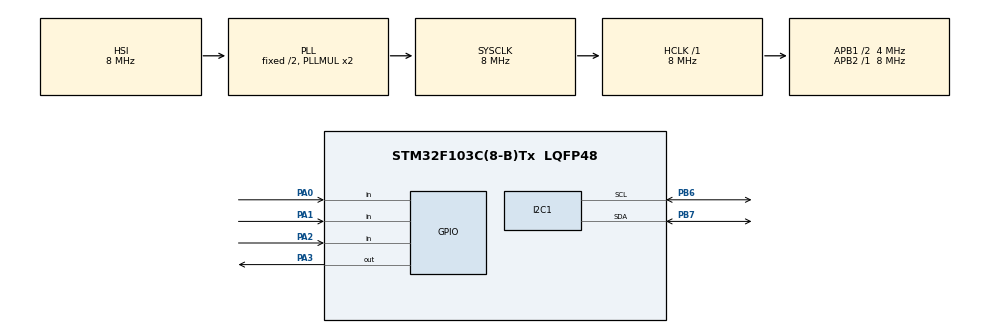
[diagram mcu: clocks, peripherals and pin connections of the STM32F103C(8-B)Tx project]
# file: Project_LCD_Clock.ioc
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Mcu.Family=STM32F1
Mcu.Name=STM32F103C(8-B)Tx
Mcu.Package=LQFP48
NVIC.PriorityGroup=NVIC_PRIORITYGROUP_4
PA0-WKUP.GPIO_PuPd=GPIO_PULLUP
PA0-WKUP.Signal=GPIO_Input
PA1.GPIO_PuPd=GPIO_PULLUP
PA1.Signal=GPIO_Input
PA13.Mode=Serial_Wire
PA13.Signal=SYS_JTMS-SWDIO
PA14.Mode=Serial_Wire
PA14.Signal=SYS_JTCK-SWCLK
PA2.GPIO_PuPd=GPIO_PULLUP
PA2.Signal=GPIO_Input
PA3.GPIO_ModeDefaultOutputPP=GPIO_MODE_OUTPUT_PP
PA3.GPIO_PuPd=GPIO_PULLUP
PA3.GPIO_Speed=GPIO_SPEED_FREQ_HIGH
PA3.PinState=GPIO_PIN_SET
PA3.Signal=GPIO_Output
PB6.Mode=I2C
PB6.Signal=I2C1_SCL
PB7.Mode=I2C
PB7.Signal=I2C1_SDA
PD0-OSC_IN.Mode=HSE-External-Oscillator
PD0-OSC_IN.Signal=RCC_OSC_IN
PD1-OSC_OUT.Mode=HSE-External-Oscillator
PD1-OSC_OUT.Signal=RCC_OSC_OUT
ProjectManager.HeapSize=0x200
ProjectManager.StackSize=0x400
ProjectManager.TargetToolchain=MDK-ARM V5.32
RCC.AHBFreq_Value=8000000
RCC.APB1CLKDivider=RCC_HCLK_DIV2
RCC.APB1Freq_Value=4000000
RCC.APB1TimFreq_Value=8000000
RCC.APB2Freq_Value=8000000
RCC.APB2TimFreq_Value=8000000
RCC.HCLKFreq_Value=8000000
RCC.SYSCLKFreq_VALUE=8000000
RCC.SYSCLKSource=RCC_SYSCLKSOURCE_PLLCLK
RCC.USBFreq_Value=8000000
board=custom

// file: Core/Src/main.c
/* USER CODE BEGIN Header */
/**
  ******************************************************************************
  * @file           : main.c
  * @brief          : Main program body
  ******************************************************************************
  * @attention
  *
  * Copyright (c) 2024 STMicroelectronics.
  * All rights reserved.
  *
  * This software is licensed under terms that can be found in the LICENSE file
  * in the root directory of this software component.
  * If no LICENSE file comes with this software, it is provided AS-IS.
  *
  ******************************************************************************
  */
/* USER CODE END Header */
#include "main.h"

/* USER CODE BEGIN Includes */
#include "i2c_lcd.h"
#include "DS3231.h"
#include "button.h"
#include <stdio.h>
#include <string.h>
/* USER CODE END Includes */

/* USER CODE BEGIN PTD */
typedef enum
{
	NORMAL_STATE,
	SETTING_HOUR_STATE,
	SETTING_MIN_STATE,
	SETTING_SEC_STATE,
	SETTING_DATE_STATE,
	SETTING_MON_STATE,
	SETTING_YEAR_STATE,
	ALARM_HOUR_STATE,
	ALARM_MIN_STATE,
	BACKLIGHT_OFF_STATE
}ClockState;

/* USER CODE END PTD */

/* USER CODE BEGIN PD */
// back light off time (hour: 0-23)
#define BACKLIGHT_OFF_START 20
#define BACKLIGHT_OFF_END 5

#define BLINK_SETTING_DURATION 300
#define BACKLIGHT_ON_DURATION 10000
#define TIME_ADJUST_HOLD_DURATION 1000
#define TIME_ADJUST_STEP_INTERVAL 300
/* USER CODE END PD */

I2C_HandleTypeDef hi2c1;

/* USER CODE BEGIN PV */
I2C_LCD lcd;
DateTime date_time;
Button_Typedef btn_ok, btn_up, btn_down;
//int8_t alarm_hour, alarm_min;
uint32_t time_on_click_up = 0, time_on_click_down = 0, time_on_click_ok = 0;
const char arr_day[][4]= {"SUN", "MON", "TUE", "WED", "THU", "FRI", "SAT"};
ClockState clock_state = NORMAL_STATE;

/* USER CODE END PV */

void SystemClock_Config(void);
static void MX_GPIO_Init(void);
static void MX_I2C1_Init(void);
/* USER CODE BEGIN PFP */
void clock_time_update(void);
void up_down_number(int8_t *number, int8_t max, int8_t min, uint8_t isPlus);
uint8_t check_leap_year(uint16_t year);
uint8_t get_max_date(uint8_t mon, uint16_t year);
void check_alarm(void);
void setting_blink(void);
void adjust_time(uint8_t isPlus);
void button_time_out_handler_cb(Button_Typedef *ButtonX);
void button_short_press_handler_cb(Button_Typedef *ButtonX);
void button_press_handler_cb(Button_Typedef *ButtonX);
void button_release_handler_cb(Button_Typedef *ButtonX);
void hold_btn_handle(void);
void backlight_handle(void);
void alarm_screen(void);
void clock_handle(void);
/* USER CODE END PFP */

int main(void)
{

  /* MCU Configuration--------------------------------------------------------*/

  /* Reset of all peripherals, Initializes the Flash interface and the Systick. */
  HAL_Init();

  /* Configure the system clock */
  SystemClock_Config();

  /* Initialize all configured peripherals */
  MX_GPIO_Init();
  MX_I2C1_Init();
  /* USER CODE BEGIN 2 */
	HAL_Delay(100);
	lcd_init(&lcd, &hi2c1, LCD_ADDR_DEFAULT);
	rtc_init(&hi2c1);
  button_init(&btn_down, GPIOA, GPIO_PIN_0);
  button_init(&btn_ok, GPIOA, GPIO_PIN_1);
  button_init(&btn_up, GPIOA, GPIO_PIN_2);
	rtc_read_alarm(&date_time);
	lcd_clear(&lcd);
  /* USER CODE END 2 */

  /* Infinite loop */
  while (1)
  {

    /* USER CODE BEGIN 3 */
		clock_handle();
		button_handler(&btn_down);
		button_handler(&btn_ok);
		button_handler(&btn_up);
  }
  /* USER CODE END 3 */
}

void SystemClock_Config(void)
{
  RCC_OscInitTypeDef RCC_OscInitStruct = {0};
  RCC_ClkInitTypeDef RCC_ClkInitStruct = {0};

  /** Initializes the RCC Oscillators according to the specified parameters
  * in the RCC_OscInitTypeDef structure.
  */
  RCC_OscInitStruct.OscillatorType = RCC_OSCILLATORTYPE_HSI;
  RCC_OscInitStruct.HSIState = RCC_HSI_ON;
  RCC_OscInitStruct.HSICalibrationValue = RCC_HSICALIBRATION_DEFAULT;
  RCC_OscInitStruct.PLL.PLLState = RCC_PLL_ON;
  RCC_OscInitStruct.PLL.PLLSource = RCC_PLLSOURCE_HSI_DIV2;
  RCC_OscInitStruct.PLL.PLLMUL = RCC_PLL_MUL2;
  if (HAL_RCC_OscConfig(&RCC_OscInitStruct) != HAL_OK)
  {
    Error_Handler();
  }

  /** Initializes the CPU, AHB and APB buses clocks
  */
  RCC_ClkInitStruct.ClockType = RCC_CLOCKTYPE_HCLK|RCC_CLOCKTYPE_SYSCLK
                              |RCC_CLOCKTYPE_PCLK1|RCC_CLOCKTYPE_PCLK2;
  RCC_ClkInitStruct.SYSCLKSource = RCC_SYSCLKSOURCE_PLLCLK;
  RCC_ClkInitStruct.AHBCLKDivider = RCC_SYSCLK_DIV1;
  RCC_ClkInitStruct.APB1CLKDivider = RCC_HCLK_DIV2;
  RCC_ClkInitStruct.APB2CLKDivider = RCC_HCLK_DIV1;

  if (HAL_RCC_ClockConfig(&RCC_ClkInitStruct, FLASH_LATENCY_0) != HAL_OK)
  {
    Error_Handler();
  }
}

static void MX_I2C1_Init(void)
{

  hi2c1.Instance = I2C1;
  hi2c1.Init.ClockSpeed = 100000;
  hi2c1.Init.DutyCycle = I2C_DUTYCYCLE_2;
  hi2c1.Init.OwnAddress1 = 0;
  hi2c1.Init.AddressingMode = I2C_ADDRESSINGMODE_7BIT;
  hi2c1.Init.DualAddressMode = I2C_DUALADDRESS_DISABLE;
  hi2c1.Init.OwnAddress2 = 0;
  hi2c1.Init.GeneralCallMode = I2C_GENERALCALL_DISABLE;
  hi2c1.Init.NoStretchMode = I2C_NOSTRETCH_DISABLE;
  if (HAL_I2C_Init(&hi2c1) != HAL_OK)
  {
    Error_Handler();
  }

}

static void MX_GPIO_Init(void)
{
  GPIO_InitTypeDef GPIO_InitStruct = {0};

  /* GPIO Ports Clock Enable */
  __HAL_RCC_GPIOD_CLK_ENABLE();
  __HAL_RCC_GPIOA_CLK_ENABLE();
  __HAL_RCC_GPIOB_CLK_ENABLE();

  /*Configure GPIO pin Output Level */
  HAL_GPIO_WritePin(GPIOA, GPIO_PIN_3, GPIO_PIN_SET);

  /*Configure GPIO pins : PA0 PA1 PA2 */
  GPIO_InitStruct.Pin = GPIO_PIN_0|GPIO_PIN_1|GPIO_PIN_2;
  GPIO_InitStruct.Mode = GPIO_MODE_INPUT;
  GPIO_InitStruct.Pull = GPIO_PULLUP;
  HAL_GPIO_Init(GPIOA, &GPIO_InitStruct);

  /*Configure GPIO pin : PA3 */
  GPIO_InitStruct.Pin = GPIO_PIN_3;
  GPIO_InitStruct.Mode = GPIO_MODE_OUTPUT_PP;
  GPIO_InitStruct.Pull = GPIO_PULLUP;
  GPIO_InitStruct.Speed = GPIO_SPEED_FREQ_HIGH;
  HAL_GPIO_Init(GPIOA, &GPIO_InitStruct);

}

/* USER CODE BEGIN 4 */

//-----------------Clock handle---------------------------
void clock_handle(void)
{
	switch(clock_state)
	{
		case NORMAL_STATE:
			clock_time_update();
			check_alarm();
			backlight_handle();
			break;
		case SETTING_HOUR_STATE:
		case SETTING_MIN_STATE:
		case SETTING_SEC_STATE:
		case SETTING_DATE_STATE:
		case SETTING_MON_STATE:
		case SETTING_YEAR_STATE:
			setting_blink();
			hold_btn_handle();
			break;
		case ALARM_HOUR_STATE:
		case ALARM_MIN_STATE:
			alarm_screen();
			hold_btn_handle();
			break;
		case BACKLIGHT_OFF_STATE:
			clock_time_update();
			check_alarm();
			backlight_handle();
			break;
		default: break;
	}
}

void clock_time_update(void)
{
	static uint32_t t_update = 0;
	if(HAL_GetTick() - t_update >= 1000)
	{
		rtc_read_time(&date_time);
		lcd_put_cur(&lcd, 0,4);
		lcd_send_string(&lcd, "%02d:%02d:%02d", date_time.hour, date_time.min, date_time.sec);
		lcd_put_cur(&lcd, 1,1);
		lcd_send_string(&lcd, "%s %02d/%02d/20%02d", arr_day[rtc_read_time_of_week(&date_time)],
										date_time.date, date_time.mon, date_time.year);

		t_update = HAL_GetTick();
	}
}

//-----------------Alarm---------------------------------
void check_alarm(void)
{
	if(date_time.alarm_hour == date_time.hour && date_time.alarm_min == date_time.min)
	{
		static uint32_t t_alarm = 0;
		if(HAL_GetTick() - t_alarm >= 1000)
		{
			HAL_GPIO_TogglePin(GPIOA, GPIO_PIN_3);
			t_alarm = HAL_GetTick();
		}
	}
	else
	{
		HAL_GPIO_WritePin(GPIOA, GPIO_PIN_3, GPIO_PIN_SET);
	}
}

//-----------------Back light check---------------------
void backlight_handle(void)
{
	switch(clock_state)
	{
		case NORMAL_STATE:
		{
			if(date_time.hour >= BACKLIGHT_OFF_START || date_time.hour < BACKLIGHT_OFF_END)
			{
				static uint32_t t_backlight = 0;
				if(t_backlight == 0)
				{
					t_backlight = HAL_GetTick();
				}
				else if(HAL_GetTick() - t_backlight >= BACKLIGHT_ON_DURATION)
				{
					t_backlight = 0;
					lcd_back_light_off(&lcd);
					clock_state = BACKLIGHT_OFF_STATE;
				}
			}
			break;
		}
		case BACKLIGHT_OFF_STATE:
			if(date_time.hour < BACKLIGHT_OFF_START && date_time.hour >= BACKLIGHT_OFF_END)
			{
				lcd_back_light_on(&lcd);
				clock_state = NORMAL_STATE;
			}
			break;
		default: break;
	}

}

//-----------------Alarm screen---------------------------
void alarm_screen(void)
{
	static uint32_t t_blink = 0;
	static uint8_t isShow = 1;
	char line2[16];

	if(HAL_GetTick() - t_blink >= BLINK_SETTING_DURATION)
	{
		rtc_read_time(&date_time);
		isShow = !isShow;
		sprintf(line2, "%02d:%02d", date_time.alarm_hour, date_time.alarm_min);
		if(isShow)
		{
			lcd_put_cur(&lcd, 1,5);
			lcd_send_string(&lcd, "%s", line2);
		}
		else
		{
			switch(clock_state)
			{
				case ALARM_HOUR_STATE:
					line2[0] = line2[1] = ' ';
					break;
				case ALARM_MIN_STATE:
					line2[3] = line2[4] = ' ';
					break;
				default: break;
			}
			lcd_put_cur(&lcd, 0,5);
			lcd_send_string(&lcd,"ALARM");
			lcd_put_cur(&lcd, 1,5);
			lcd_send_string(&lcd, "%s", line2);
		}
		t_blink = HAL_GetTick();
	}
}

//-----------------Setting blink-------------------------
void setting_blink(void)
{
	static uint32_t t_blink = 0;
	static uint8_t isShow = 1;
	char line1[16];
	char line2[16];

	if(HAL_GetTick() - t_blink >= BLINK_SETTING_DURATION)
	{
		rtc_read_time(&date_time);
		isShow = !isShow;
		sprintf(line1, "%02d:%02d:%02d", date_time.hour, date_time.min, date_time.sec);
		sprintf(line2, "%s %02d/%02d/20%02d", arr_day[rtc_read_time_of_week(&date_time)],
										date_time.date, date_time.mon, date_time.year);
		if(isShow)
		{
			lcd_put_cur(&lcd, 0,4);
			lcd_send_string(&lcd, "%s", line1);
			lcd_put_cur(&lcd, 1,1);
			lcd_send_string(&lcd, "%s", line2);
		}
		else
		{
			switch(clock_state)
			{
				case SETTING_HOUR_STATE:
					line1[0] = line1[1] = ' ';
					break;
				case SETTING_MIN_STATE:
					line1[3] = line1[4] = ' ';
					break;
				case SETTING_SEC_STATE:
					line1[6] = line1[7] = ' ';
					break;
				case SETTING_DATE_STATE:
					line2[4] = line2[5] = ' ';
					break;
				case SETTING_MON_STATE:
					line2[7] = line2[8] = ' ';
					break;
				case SETTING_YEAR_STATE:
					line2[10] = line2[11] = line2[12] = line2[13] = ' ';
					break;
				default: break;
			}
			lcd_put_cur(&lcd, 0,4);
			lcd_send_string(&lcd, "%s", line1);
			lcd_put_cur(&lcd, 1,1);
			lcd_send_string(&lcd, "%s", line2);
		}
		t_blink = HAL_GetTick();
	}
}
//-----------------Adjust time---------------------------
void adjust_time(uint8_t isPlus)
{
	switch(clock_state)
	{
		case SETTING_HOUR_STATE:
			up_down_number(&date_time.hour, 23, 0, isPlus);
			rtc_write_time(&date_time);
			break;
		case SETTING_MIN_STATE:
			up_down_number(&date_time.min, 59, 0, isPlus);
			rtc_write_time(&date_time);
			break;
		case SETTING_SEC_STATE:
			up_down_number(&date_time.sec, 59, 0, isPlus);
			rtc_write_time(&date_time);
			break;
		case SETTING_DATE_STATE:
			up_down_number(&date_time.date,
										get_max_date(date_time.mon, date_time.year), 1, isPlus);
			rtc_write_time(&date_time);
			rtc_write_time(&date_time);
			break;
		case SETTING_MON_STATE:
		{
			up_down_number(&date_time.mon, 12, 1, isPlus);
			uint8_t max_date = get_max_date(date_time.mon, date_time.year);
			if(date_time.date > max_date)
			{
				date_time.date = max_date;
			}
			rtc_write_time(&date_time);
			break;
		}
		case SETTING_YEAR_STATE:
			up_down_number(&date_time.year, 99, 0, isPlus);
			rtc_write_time(&date_time);
			break;
		case ALARM_HOUR_STATE:
			up_down_number(&date_time.alarm_hour, 23, 0, isPlus);
			rtc_write_alarm(&date_time);
			break;
		case ALARM_MIN_STATE:
			up_down_number(&date_time.alarm_min, 59, 0, isPlus);
			rtc_write_alarm(&date_time);
			break;
		default: break;
	}
}

//-----------------Callback button-----------------------
void button_time_out_handler_cb(Button_Typedef *ButtonX)
{
	if(ButtonX == &btn_ok && clock_state == NORMAL_STATE)
	{
		clock_state = ALARM_HOUR_STATE;
		lcd_clear(&lcd);
		lcd_put_cur(&lcd, 0, 5);
		lcd_send_string(&lcd, "ALARM");
	}
}

void button_short_press_handler_cb(Button_Typedef *ButtonX)
{
	if(ButtonX == &btn_ok)
	{
		switch(clock_state)
		{
			case NORMAL_STATE:
				clock_state = SETTING_HOUR_STATE;
				break;
			case SETTING_HOUR_STATE:
				clock_state = SETTING_MIN_STATE;
				break;
			case SETTING_MIN_STATE:
				clock_state = SETTING_SEC_STATE;
				break;
			case SETTING_SEC_STATE:
				clock_state = SETTING_DATE_STATE;
				break;
			case SETTING_DATE_STATE:
				clock_state = SETTING_MON_STATE;
				break;
			case SETTING_MON_STATE:
				clock_state = SETTING_YEAR_STATE;
				break;
			case SETTING_YEAR_STATE:
				clock_state = NORMAL_STATE;
				break;
			case ALARM_HOUR_STATE:
				clock_state = ALARM_MIN_STATE;
				break;
			case ALARM_MIN_STATE:
				clock_state = NORMAL_STATE;
				break;
			default: break;
		}
	}
	if(clock_state == BACKLIGHT_OFF_STATE)
	{
			lcd_back_light_on(&lcd);
			clock_state = NORMAL_STATE;
	}
}

void button_press_handler_cb(Button_Typedef *ButtonX)
{
	if(ButtonX == &btn_up)
	{
		adjust_time(1);
		time_on_click_up = HAL_GetTick();
		time_on_click_ok = HAL_GetTick();
	}
	else if(ButtonX == &btn_down)
	{
		adjust_time(0);
		time_on_click_down = HAL_GetTick();
		time_on_click_ok = HAL_GetTick();
	}
}

void button_release_handler_cb(Button_Typedef *ButtonX)
{
	if(ButtonX == &btn_up)
	{
		time_on_click_up = 0;
		time_on_click_ok = HAL_GetTick();
	}
	else if(ButtonX == &btn_down)
	{
		time_on_click_down = 0;
		time_on_click_ok = HAL_GetTick();
	}
	else if(ButtonX == &btn_ok)
	{
		time_on_click_ok = HAL_GetTick();
	}
}
//-----------------Hold button handle---------------------
void hold_btn_handle(void)
{
	// If the button is held longer than TIME_ADJUST_STEP_INTERVAL, automatically adjust depend on TIME_ADJUST_STEP_INTERVAL
	if(time_on_click_up && HAL_GetTick() - time_on_click_up > TIME_ADJUST_HOLD_DURATION)
	{
		static uint32_t t_adjust_time = 0;
		if(HAL_GetTick() - t_adjust_time > TIME_ADJUST_STEP_INTERVAL)
		{
			adjust_time(1);
			t_adjust_time = HAL_GetTick();
		}
	}
	if(time_on_click_down && HAL_GetTick() - time_on_click_down > TIME_ADJUST_HOLD_DURATION)
	{
		static uint32_t t_adjust_time = 0;
		if(HAL_GetTick() - t_adjust_time > TIME_ADJUST_STEP_INTERVAL)
		{
			adjust_time(0);
			t_adjust_time = HAL_GetTick();
		}
	}

	// Resets the screen timeout counter to keep the screen active while the ok button is being held down
	if(time_on_click_ok && HAL_GetTick() - time_on_click_ok > BACKLIGHT_ON_DURATION)
	{
		time_on_click_ok = 0;
		clock_state = NORMAL_STATE;
	}
}

//-----------------Utils---------------------------------
void up_down_number(int8_t *number, int8_t max, int8_t min, uint8_t isPlus)
{
	if(isPlus)
	{
		(*number)++;
		if(*number > max)
		{
			*number = min;
		}
	}
	else
	{
		(*number)--;
		if(*number < min)
		{
			*number = max;
		}
	}
}
uint8_t check_leap_year(uint16_t year)
{
	if(((year %4 == 0) && (year%100 != 0)) || (year%400 == 0))
	{
		return 1;
	}
	return 0;
}
uint8_t get_max_date(uint8_t mon, uint16_t year)
{
	switch(mon)
	{
		case 1:case 3:case 5:case 7: case 8:case 10: case 12:
			return 31;
		case 4:case 6:case 9:case 11:
			return 30;
		case 2:
			if(check_leap_year(year))
			{
				return 29;
			}
	}
	return 28;
}

/* USER CODE END 4 */

void Error_Handler(void)
{
  __disable_irq();
  while (1)
  {
  }
}
